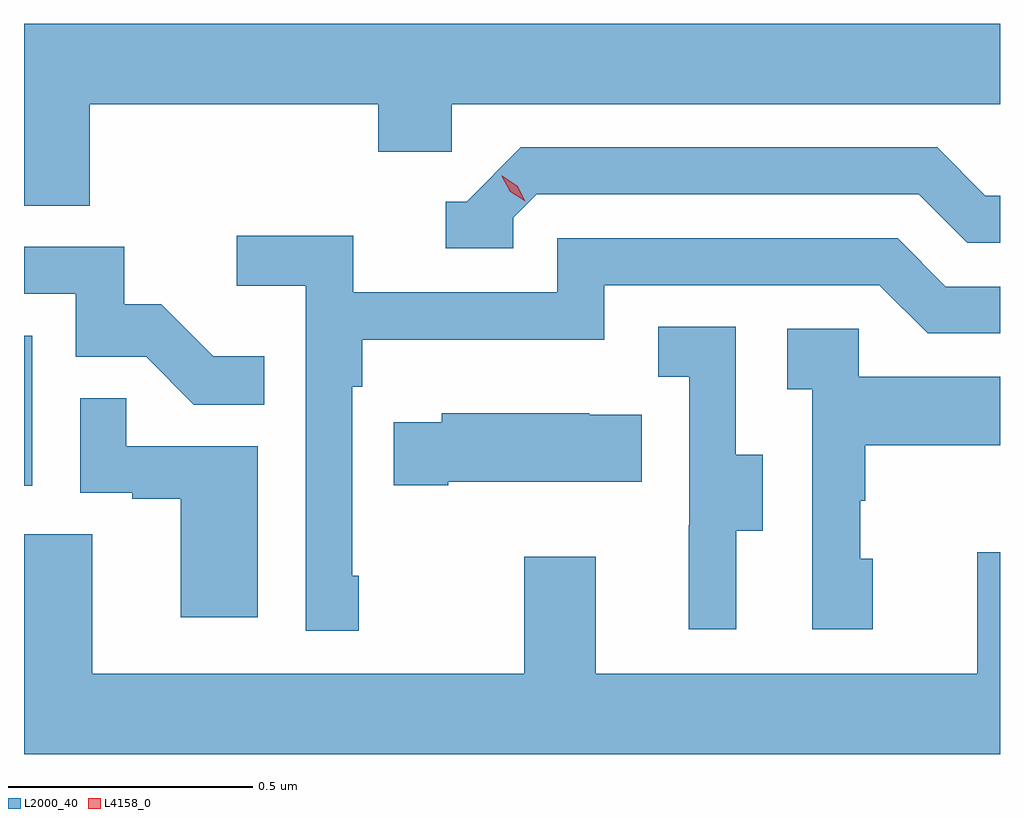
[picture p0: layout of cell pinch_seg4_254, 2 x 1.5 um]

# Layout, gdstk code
import gdstk
lib = gdstk.Library(unit=1e-6, precision=1e-09)
def R(c, l, rs):  # rectangles x0, y0, x1, y1
    for r in rs: c.add(gdstk.rectangle(r[:2], r[2:], *l))
def P(c, l, *ps):  # polygons
    for p in ps: c.add(gdstk.Polygon(p, *l))
L2000_40 = (2000, 40)
L4158_0 = (4158, 0)

pinch_seg4_254 = lib.new_cell('pinch_seg4_254')
R(pinch_seg4_254, L2000_40, [(900.731,814.686,900.748,814.993)])
P(pinch_seg4_254, L2000_40, [(900.866,815.468),(901.457,815.468),(901.457,815.37),(901.608,815.37),(901.608,815.468),(902.731,815.468),(902.731,815.632),(900.731,815.632),(900.731,815.26),(900.866,815.26)],
  [(901.734,815.235),(901.782,815.283),(902.565,815.283),(902.664,815.184),(902.731,815.184),(902.731,815.28),(902.701,815.28),(902.602,815.379),(901.749,815.379),(901.638,815.268),(901.595,815.268),(901.595,815.172),(901.734,815.172)],
  [(901.417,814.501),(901.404,814.501),(901.404,814.889),(901.424,814.889),(901.424,814.985),(901.92,814.985),(901.92,815.097),(902.484,815.097),(902.583,814.998),(902.731,814.998),(902.731,815.094),(902.62,815.094),(902.521,815.193),(901.824,815.193),(901.824,815.082),(901.406,815.082),(901.406,815.198),(901.167,815.198),(901.167,815.096),(901.308,815.096),(901.308,814.389),(901.417,814.389)],
  [(901.223,814.951),(901.119,814.951),(901.012,815.058),(900.936,815.058),(900.936,815.175),(900.731,815.175),(900.731,815.079),(900.837,815.079),(900.837,814.95),(900.981,814.95),(901.079,814.852),(901.223,814.852)],
  [(902.191,814.594),(902.245,814.594),(902.245,814.749),(902.19,814.749),(902.19,815.012),(902.031,815.012),(902.031,814.909),(902.094,814.909),(902.094,814.605),(902.093,814.605),(902.093,814.392),(902.191,814.392)],
  [(902.47,814.536),(902.445,814.536),(902.445,814.655),(902.455,814.655),(902.455,814.769),(902.731,814.769),(902.731,814.909),(902.442,814.909),(902.442,815.007),(902.295,815.007),(902.295,814.883),(902.346,814.883),(902.346,814.392),(902.47,814.392)],
  [(901.21,814.767),(900.941,814.767),(900.941,814.865),(900.846,814.865),(900.846,814.671),(900.953,814.671),(900.953,814.659),(901.052,814.659),(901.052,814.416),(901.21,814.416)],
  [(901.6,814.694),(901.997,814.694),(901.997,814.831),(901.889,814.831),(901.889,814.834),(901.587,814.834),(901.587,814.816),(901.489,814.816),(901.489,814.687),(901.6,814.687)],
  [(902.731,814.549),(902.684,814.549),(902.684,814.3),(901.903,814.3),(901.903,814.54),(901.756,814.54),(901.756,814.3),(900.871,814.3),(900.871,814.586),(900.731,814.586),(900.731,814.136),(902.731,814.136)])
P(pinch_seg4_254, L4158_0, [(901.758,815.269),(901.727,815.288),(901.71,815.32),(901.71,815.321),(901.711,815.321),(901.742,815.301),(901.758,815.269),(901.758,815.269)])

lib.write_gds('pinch_seg4_254.gds')
